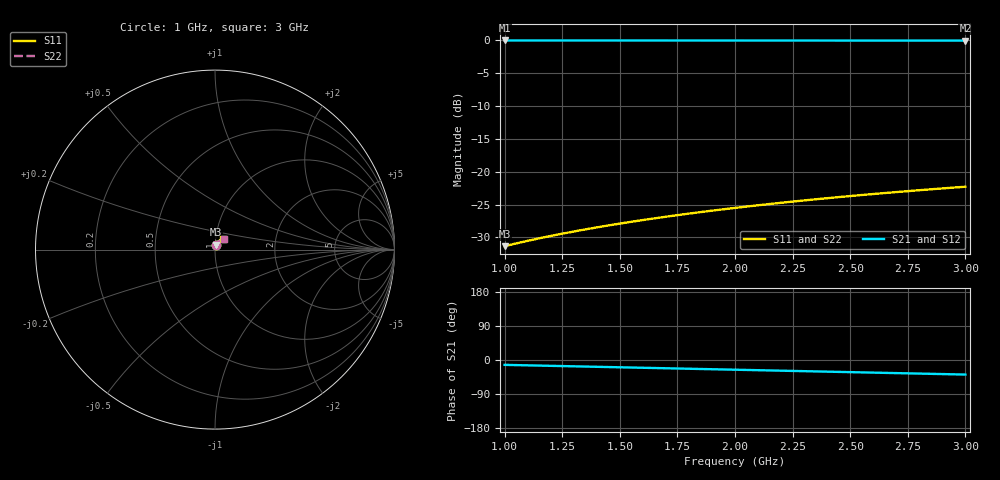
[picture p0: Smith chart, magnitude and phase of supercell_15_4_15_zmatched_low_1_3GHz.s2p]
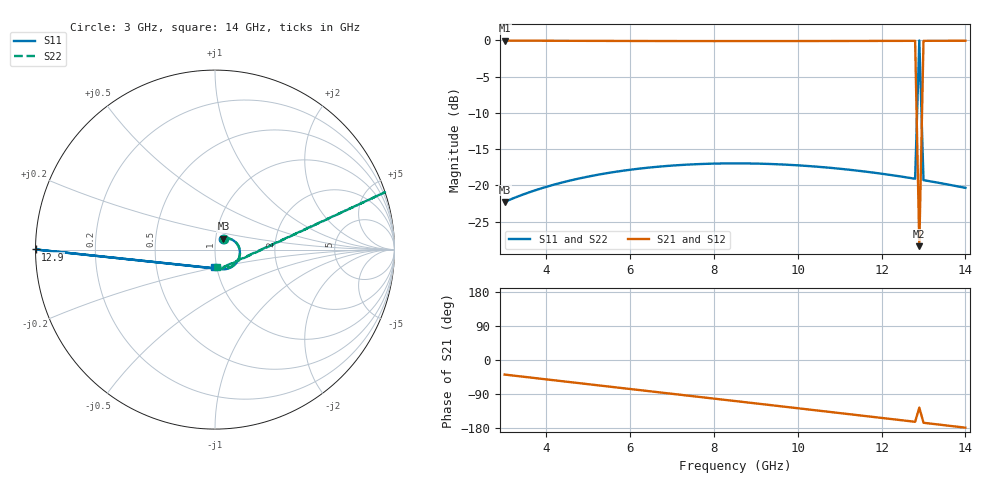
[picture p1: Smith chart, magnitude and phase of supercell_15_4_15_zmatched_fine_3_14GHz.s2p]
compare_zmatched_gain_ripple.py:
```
#!/usr/bin/env python3
"""Reflection-ripple comparison for the baseline and stub-only redesign.

The redesigned device uses interpolated 8.34/2.78 µm cells and a 16 GHz pump.
Eq. (S.1) and an eight-mode numerical solve are evaluated in result step 41.
The comparison uses each device's mid-band window, not identical frequencies."""

from __future__ import annotations

import csv
import json
import time

from _bootstrap import ROOT

import matplotlib.pyplot as plt
import numpy as np
from twpasolver import TWPAnalysis
from twpasolver.models import TWPA, LCLfBaseCell
from twpasolver.modes_rwa import ModeArrayFactory

from fit_hfss_unit_cells import fit_cell
from gain_ripple import db_to_linear_power, gain_ripple_db
from hfss_bloch import apply_bloch_parameters
from io_utils import read_touchstone, write_csv_rows, write_json
from plotting import save_figure

INPUTS = ROOT / "hfss_inputs"
OUTPUT = ROOT / "results" / "bloch_corrected" / "step_41_zmatched_gain_ripple"
STEP40 = ROOT / "results" / "bloch_corrected" / "step_40_zmatched_supercell_gain"
STEP37 = ROOT / "results" / "bloch_corrected" / "step_37_gain_ripple_analytic"
CELLS_PER_SUPERCELL = 34

TARGET_UNLOADED_UM = 8.34
TARGET_LOADED_UM = 2.78
OUR_GBP_OPTIMAL_PUMP_GHZ = 16.00  # from step_40's provenance
OUR_LINE_TRANSMITTIVITY = 1.0  # zero-loss HFSS policy, same as step_37/step_40
FINE_RIPPLE_WINDOW_GHZ = np.arange(7.0, 9.001, 0.01)  # mid-plateau window, mirrors step_37's choice


def interpolated_cell(lo: dict, hi: dict, target_um: float) -> dict:
    l0, l1 = lo["stub_length_um"], hi["stub_length_um"]
    frac = (target_um - l0) / (l1 - l0)
    return {key: lo[key] + (hi[key] - lo[key]) * frac for key in ("L_pH", "C_fF", "Lf_pH")}


def load_measured_supercell_s_parameters() -> tuple[np.ndarray, np.ndarray]:
    low_freq, low_s = read_touchstone(INPUTS / "supercell_15_4_15_zmatched_low_1_3GHz.s2p")
    fine_freq, fine_s = read_touchstone(INPUTS / "supercell_15_4_15_zmatched_fine_3_14GHz.s2p")
    aux_freq, aux_s = read_touchstone(INPUTS / "supercell_15_4_15_zmatched_aux_14_27GHz.s2p")
    frequencies_ghz = np.concatenate((low_freq, fine_freq[1:], aux_freq[1:]))
    s_matrices = np.concatenate((low_s, fine_s[1:], aux_s[1:]), axis=0)
    return frequencies_ghz, s_matrices


def main() -> None:
    OUTPUT.mkdir(parents=True, exist_ok=True)
    config = json.loads((INPUTS / "amplifier_config.json").read_text(encoding="utf-8"))
    initial_signal_current_a = float(config["Is0_A"])
    # The second pump harmonic reaches 32 GHz, beyond the default 30 GHz grid.
    config["base_frequency_stop_GHz"] = 40.0

    unloaded_8 = fit_cell(
        INPUTS,
        {
            "stub_length_um": 8.0,
            "broadband_file": "kinetic_8um_debug.s2p",
            "lowfreq_file": "kinetic_8um_lowfreq.s2p",
        },
    )
    unloaded_9 = fit_cell(
        INPUTS,
        {
            "stub_length_um": 9.0,
            "broadband_file": "kinetic_9um_debug.s2p",
            "lowfreq_file": "kinetic_9um_lowfreq.s2p",
        },
    )
    loaded_2p5 = fit_cell(
        INPUTS,
        {
            "stub_length_um": 2.5,
            "broadband_file": "kinetic_2p5um_debug.s2p",
            "lowfreq_file": "kinetic_2p5um_lowfreq.s2p",
        },
    )
    loaded_3 = fit_cell(
        INPUTS,
        {
            "stub_length_um": 3.0,
            "broadband_file": "kinetic_3um_debug.s2p",
            "lowfreq_file": "kinetic_3um_lowfreq.s2p",
        },
    )
    unloaded_fit = interpolated_cell(unloaded_8, unloaded_9, TARGET_UNLOADED_UM)
    loaded_fit = interpolated_cell(loaded_2p5, loaded_3, TARGET_LOADED_UM)

    unloaded_cell = LCLfBaseCell(
        L=unloaded_fit["L_pH"] * 1e-12,
        C=unloaded_fit["C_fF"] * 1e-15,
        Lf=unloaded_fit["Lf_pH"] * 1e-12,
        N=15,
    )
    loaded_cell = LCLfBaseCell(
        L=loaded_fit["L_pH"] * 1e-12,
        C=loaded_fit["C_fF"] * 1e-15,
        Lf=loaded_fit["Lf_pH"] * 1e-12,
        N=4,
    )
    twpa = TWPA(
        cells=[unloaded_cell, loaded_cell, unloaded_cell],
        N=int(config["supercells"]),
        Istar=float(config["Istar_A"]),
        Idc=float(config["Idc_A"]),
        Ip0=float(config["Ip0_A"]),
    )

    measured_freq_ghz, measured_s = load_measured_supercell_s_parameters()
    engineered = TWPAnalysis(
        twpa=twpa,
        f_arange=(
            config["base_frequency_start_GHz"],
            config["base_frequency_stop_GHz"],
            config["base_frequency_step_GHz"],
        ),
        unit="GHz",
    )
    engineered.update_base_data()
    apply_bloch_parameters(engineered.data, measured_freq_ghz, measured_s, CELLS_PER_SUPERCELL)

    freqs_ghz = np.asarray(engineered.data["freqs"], dtype=float)
    reflection_magnitude_by_freq = np.abs(np.asarray(engineered.data["gammas"], dtype=complex))

    gain_rows = list(
        csv.DictReader((STEP40 / "04_gain_profiles.csv").open(newline="", encoding="utf-8"))
    )
    gbp_column = next(key for key in gain_rows[0] if "max_gbp" in key)
    signal_ghz = np.array([float(row["signal_GHz"]) for row in gain_rows])
    our_gain_db = np.array([float(row[gbp_column]) for row in gain_rows])
    our_reflection_magnitude = np.interp(signal_ghz, freqs_ghz, reflection_magnitude_by_freq)

    write_csv_rows(
        OUTPUT / "01_our_device_gamma_and_gain.csv",
        ["signal_GHz", "our_gain_dB", "our_gamma_mag"],
        [signal_ghz, our_gain_db, our_reflection_magnitude],
    )

    our_ripple_db = gain_ripple_db(
        db_to_linear_power(our_gain_db), OUR_LINE_TRANSMITTIVITY, our_reflection_magnitude
    )
    reflection_term = (
        db_to_linear_power(our_gain_db) * OUR_LINE_TRANSMITTIVITY * our_reflection_magnitude**2
    )
    write_csv_rows(
        OUTPUT / "02_our_device_analytic_ripple.csv",
        ["signal_GHz", "G_eta_Gamma2", "dG_analytic_dB"],
        [signal_ghz, reflection_term, our_ripple_db],
    )

    inband_mask = (signal_ghz >= 5.0) & (signal_ghz <= 9.0)
    median_gamma_inband = float(np.median(our_reflection_magnitude[inband_mask]))

    fig, ax_gain = plt.subplots(figsize=(8, 5))
    ax_gain.plot(signal_ghz, our_gain_db, color="tab:blue", label="Gain, G(f) [dB]")
    ax_gain.set_xlabel("Signal frequency [GHz]")
    ax_gain.set_ylabel("Gain [dB]", color="tab:blue")
    ax_ripple = ax_gain.twinx()
    ax_ripple.plot(signal_ghz, our_ripple_db, color="tab:red", label="Analytic ripple, dG(f) [dB]")
    ax_ripple.set_ylabel("Analytic ripple dG [dB] (Eq. S.1)", color="tab:red")
    ax_gain.set_title(
        f"Redesigned structure: gain and Eq. (S.1) domain check at pump={OUR_GBP_OPTIMAL_PUMP_GHZ} GHz"
    )
    gh, gl = ax_gain.get_legend_handles_labels()
    rh, rl = ax_ripple.get_legend_handles_labels()
    ax_gain.legend(gh + rh, gl + rl, fontsize=8, loc="upper left")
    fig.tight_layout()
    save_figure(fig, OUTPUT, "02_our_device_analytic_ripple")
    plt.close(fig)

    modes = ModeArrayFactory.create_extended_3wm(
        engineered.data, n_pump_harmonics=1, n_frequency_conversion=1, n_signal_harmonics=1
    )
    engineered.add_mode_array("all_8_modes", modes)

    print(
        f"Fine general-model sweep: {len(FINE_RIPPLE_WINDOW_GHZ)} points at pump={OUR_GBP_OPTIMAL_PUMP_GHZ} GHz ..."
    )
    t0 = time.time()
    result = engineered.gain(
        FINE_RIPPLE_WINDOW_GHZ,
        pump=OUR_GBP_OPTIMAL_PUMP_GHZ,
        Is0=initial_signal_current_a,
        model="general",
        mode_array_config="all_8_modes",
        thin=400,
    )
    fine_gain_db = np.asarray(result["gain_db"], dtype=float)
    elapsed_s = time.time() - t0
    print(f"Fine sweep done in {elapsed_s:.1f}s")

    numeric_ripple_pp_db = float(fine_gain_db.max() - fine_gain_db.min())
    mean_gain_window_db = float(np.mean(fine_gain_db))
    gamma_window = np.interp(
        np.mean(FINE_RIPPLE_WINDOW_GHZ), freqs_ghz, reflection_magnitude_by_freq
    )
    analytic_ripple_window_db = float(
        gain_ripple_db(
            np.array([db_to_linear_power(mean_gain_window_db)]),
            OUR_LINE_TRANSMITTIVITY,
            np.array([gamma_window]),
        )[0]
    )

    write_csv_rows(
        OUTPUT / "03_fine_numeric_ripple_check.csv",
        ["signal_GHz", "gain_dB_general_model"],
        [FINE_RIPPLE_WINDOW_GHZ, fine_gain_db],
    )

    fig, ax = plt.subplots(figsize=(8, 5))
    ax.plot(FINE_RIPPLE_WINDOW_GHZ, fine_gain_db, color="tab:green", lw=1.2)
    ax.axhline(
        mean_gain_window_db,
        color="gray",
        ls=":",
        lw=1,
        label=f"mean = {mean_gain_window_db:.2f} dB",
    )
    ax.set_xlabel("Signal frequency [GHz]")
    ax.set_ylabel("Gain [dB], general model (reflections on)")
    ax.set_title(
        f"Reflection-enabled numerical model: gain ripple\nobserved peak-to-peak = {numeric_ripple_pp_db:.3f} dB"
    )
    ax.legend(fontsize=8)
    ax.grid(alpha=0.3)
    fig.tight_layout()
    save_figure(fig, OUTPUT, "03_fine_numeric_ripple_check")
    plt.close(fig)

    original_provenance = json.loads((STEP37 / "07_provenance.json").read_text(encoding="utf-8"))
    original_check = original_provenance["fine_numeric_check"]

    provenance = {
        "purpose": "Compare gain ripple between the original and impedance-matched devices",
        "our_pump_GHz": OUR_GBP_OPTIMAL_PUMP_GHZ,
        "median_gamma_inband_5_9GHz": median_gamma_inband,
        "fine_numeric_check": {
            "signal_window_GHz": [
                float(FINE_RIPPLE_WINDOW_GHZ[0]),
                float(FINE_RIPPLE_WINDOW_GHZ[-1]),
            ],
            "observed_peak_to_peak_ripple_dB": numeric_ripple_pp_db,
            "mean_gain_in_window_dB": mean_gain_window_db,
            "gamma_mag_in_window": float(gamma_window),
            "analytic_ripple_prediction_dB": analytic_ripple_window_db,
        },
        "comparison_to_original_device_step37": {
            "original_window_GHz": original_check["signal_window_GHz"],
            "original_observed_peak_to_peak_ripple_dB": original_check[
                "observed_peak_to_peak_ripple_dB"
            ],
            "original_gamma_mag_in_window": original_check["gamma_mag_in_window"],
            "note": "Each value uses the middle of its device's gain plateau; the windows differ.",
        },
    }
    write_json(OUTPUT / "04_provenance.json", provenance)

    print(f"\nMedian |Gamma| in-band (5-9 GHz): {median_gamma_inband:.4f}")
    print(
        f"Numeric peak-to-peak ripple: {numeric_ripple_pp_db:.3f} dB (vs. original device: {original_check['observed_peak_to_peak_ripple_dB']:.3f} dB)"
    )
    print(
        f"Gamma in window: {gamma_window:.4f} (vs. original device: {original_check['gamma_mag_in_window']:.4f})"
    )
    print(f"Wrote outputs to {OUTPUT}")


if __name__ == "__main__":
    main()
```
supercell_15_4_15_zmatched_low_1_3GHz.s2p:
! Touchstone file exported from HFSS 2026.1.0
!  Generated:  01:55:38 PM Aug 24, 2026
!  Design:  HFSSDesign_Supercell_15_4_15_stub_length
!  Project:  15-4-15_super_cell_cascade_validation
!  Setup:  Setup1
!  Solution:  Sweep_15_4_15_low
! Variables:
!  stub_length = 8.34um
# GHz S MA R 50.000000
! Terminal data exported
! Port[1] = Port1
! Port[2] = Port2
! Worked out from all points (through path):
!   111 points, 1 GHz to 3 GHz, reference 50 ohm
!   highest |S21| = 0.00 dB at 1 GHz (marker M1); lowest = 0.0 dB at 3 GHz (marker M2)
!   group delay of S21, straight-line fit = 35.5 ps
!   lowest |S11| = -31.3 dB at 1 GHz (marker M3), VSWR 1.06, Z = 50.4 + j2.7 ohm
!   |S11| at or under -10 dB: start of sweep to end of sweep
!   |S22| runs from -31.3 to -22.3 dB; largest |S21 - S12| = 5.7e-09
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1  0.02709 80.9  0.9996 -12.8  0.9996 -12.8  0.02709 73.5
! Gamma 6.85364685894651E-31 877.515336255417 3.25580123066977E-32 878.360833403353
! Port Impedance 50 0 50 0
1.090909  0.0295 79.4  0.9996 -14.0  0.9996 -14.0  0.0295 72.6
1.2  0.03238 77.6  0.9995 -15.4  0.9995 -15.4  0.03238 71.6
1.309091  0.03525 75.9  0.9994 -16.8  0.9994 -16.8  0.03525 70.5
1.436364  0.03858 74.0  0.9993 -18.4  0.9993 -18.4  0.03858 69.2
1.709091  0.04563 70.0  0.999 -21.9  0.999 -21.9  0.04563 66.2
2  0.053 65.9  0.9986 -25.6  0.9986 -25.6  0.053 62.8
2.236364  0.05886 62.6  0.9983 -28.7  0.9983 -28.7  0.05886 60.1
2.472727  0.06459 59.4  0.9979 -31.7  0.9979 -31.7  0.06459 57.3
2.727273  0.0706 55.9  0.9975 -34.9  0.9975 -34.9  0.0706 54.2
3  0.07685 52.3  0.997 -38.4  0.997 -38.4  0.07685 50.9
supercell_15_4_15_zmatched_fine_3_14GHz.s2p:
! Touchstone file exported from HFSS 2026.1.0
!  Generated:  01:55:58 PM Aug 24, 2026
!  Design:  HFSSDesign_Supercell_15_4_15_stub_length
!  Project:  15-4-15_super_cell_cascade_validation
!  Setup:  Setup1
!  Solution:  Sweep_15_4_15_fine
! Variables:
!  stub_length = 8.34um
# GHz S MA R 50.000000
! Terminal data exported
! Port[1] = Port1
! Port[2] = Port2
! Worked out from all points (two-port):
!   111 points, 3 GHz to 14 GHz, reference 50 ohm
!   highest |S21| = -0.03 dB at 3 GHz (marker M1); lowest = -28.4 dB at 12.9 GHz (marker M2)
!   |S21| within 3 dB of the highest: start of sweep to 12.81 GHz; 12.99 GHz to end of sweep
!   lowest |S11| = -22.3 dB at 3 GHz (marker M3), VSWR 1.17, Z = 54.5 + j6.66 ohm
!   |S11| at or under -10 dB: start of sweep to 12.85 GHz; 12.95 GHz to end of sweep
!   |S22| runs from -22.3 to 0.0 dB; largest |S21 - S12| = 6.6e-05
!   S11 on the Smith chart (normalised r, x): 3 GHz: 1.09, +0.13; 12.9 GHz: 0.00, +0.00; 14 GHz: 0.97, -0.19
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3  0.07685 52.3  0.997 -38.4  0.997 -38.4  0.07685 50.9
! Gamma 0 2632.5463282991 0 2635.08282149548
! Port Impedance 50 0 50 0
4.4  0.1051 33.7  0.9945 -56.3  0.9945 -56.3  0.1051 33.8
5.8  0.1259 15.3  0.992 -74.0  0.992 -74.0  0.1259 16.6
7.1  0.1376 -1.6  0.9905 -90.5  0.9905 -90.5  0.1376 0.6
8.5  0.1418 -19.9  0.9899 -108.3  0.9899 -108.3  0.1418 -16.6
10.5  0.1342 -46.1  0.991 -133.7  0.991 -133.7  0.1342 -41.3
11.7  0.1235 -61.9  0.9923 -149.0  0.9923 -149.0  0.1235 -56.1
12.8  0.1111 -76.5  0.9938 -163.1  0.9938 -163.1  0.1111 -69.7
12.9  0.9998 180.0  0.03806 -125.7  0.03806 -125.7  1 18.7
13  0.1086 -79.2  0.9941 -165.7  0.9941 -165.7  0.1086 -72.2
14  0.0961 -92.5  0.9954 -178.5  0.9953 -178.5  0.0961 -84.6
